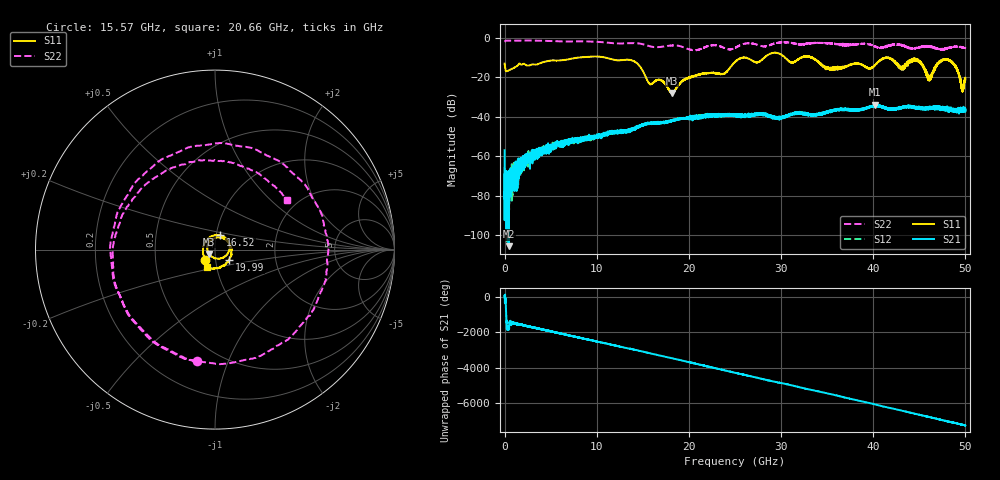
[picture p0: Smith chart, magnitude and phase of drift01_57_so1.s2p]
!Created with skrf (http://scikit-rf.org).
# Hz S RI R 50.0
!freq ReS11 ImS11 ReS21 ImS21 ReS12 ImS12 ReS22 ImS22
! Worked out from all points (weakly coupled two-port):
!   10001 points, 300 kHz to 50 GHz, reference 50 ohm
!   highest |S21| = -33.90 dB at 40.23 GHz (marker M1); lowest = -105.5 dB at 435.3 MHz (marker M2)
!   lowest |S11| = -28.0 dB at 18.12 GHz (marker M3), VSWR 1.08, Z = 46.9 - j2.31 ohm
!   |S11| at or under -10 dB: start of sweep to 8.036 GHz; 10.91 GHz to 25.86 GHz (14.95 GHz wide, 81.3 % of centre); 33.35 GHz to end of sweep (the widest 3 of 18)
!   |S22| runs from -6.4 to -1.4 dB; largest |S21 - S12| = 0.0032
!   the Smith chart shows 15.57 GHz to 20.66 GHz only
!   S11 on the Smith chart (normalised r, x): 15.57 GHz: 0.89, -0.10; 16.52 GHz: 1.05, +0.17; 19.99 GHz: 1.16, -0.14; 20.66 GHz: 0.90, -0.18
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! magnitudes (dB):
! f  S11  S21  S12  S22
! 300 kHz  -13.0  -57.0  -65.7  -2.1
! 255.3 MHz  -16.9  -76.3  -85.6  -1.4
! 435.3 MHz  -16.5  -105.5  -68.6  -1.4
! 3.095 GHz  -13.4  -58.3  -59.9  -1.4
! 8.335 GHz  -9.9  -51.7  -52.3  -1.8
! 13.87 GHz  -11.5  -45.7  -46.5  -2.7
! 15.57 GHz  -22.2  -43.3  -43.7  -4.0
! 16.52 GHz  -21.4  -42.9  -43.1  -4.8
! 16.67 GHz  -21.2  -43.3  -43.0  -4.8
! 18.12 GHz  -28.0  -42.1  -42.2  -4.0
! 19.99 GHz  -20.2  -40.6  -40.6  -5.8
! 20.66 GHz  -19.2  -40.9  -40.0  -6.3
! 25 GHz  -12.2  -39.5  -39.5  -5.0
! 33.34 GHz  -10.1  -39.3  -38.9  -2.7
! 35.33 GHz  -15.7  -36.9  -37.0  -2.7
! 40.23 GHz  -13.7  -33.9  -34.4  -4.5
! 41.67 GHz  -10.1  -35.9  -36.1  -4.1
! 43.1 GHz  -15.0  -35.3  -35.2  -3.8
! 44.8 GHz  -11.3  -35.4  -35.8  -5.1
! 46.1 GHz  -21.1  -35.6  -35.4  -4.3
! 48.04 GHz  -11.1  -35.0  -36.2  -5.4
! 50 GHz  -21.1  -36.5  -36.9  -5.3
